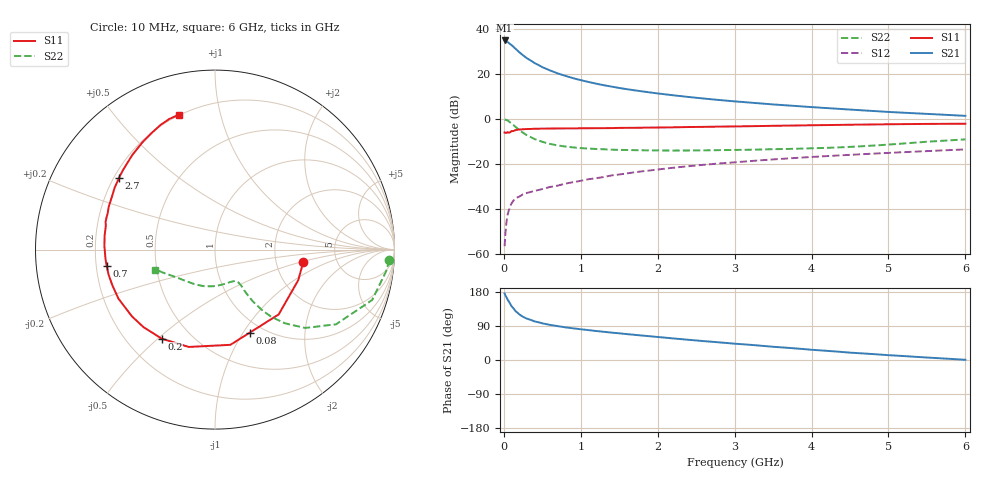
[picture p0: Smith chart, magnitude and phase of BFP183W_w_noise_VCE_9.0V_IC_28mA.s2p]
! (c) 2017  Infineon Technologies AG, Munich
! Infineon Technologies  Discrete & RF Semiconductors
! BFP183W
! VCE =  9.0 V,  IC =  28 mA
! Common Emitter S-Parameters:  Jan 2017
# GHz  S  MA  R  50
!  f  S11  S21  S12  S22
! GHz  MAG  ANG  MAG  ANG  MAG  ANG  MAG  ANG
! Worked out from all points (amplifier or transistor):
!   77 points, 10 MHz to 6 GHz, reference 50 ohm
!   highest |S21| = 34.7 dB at 10 MHz (marker M1)
!   |S21| within 3 dB of that: start of sweep to 130.4 MHz
!   unconditionally stable (mu >= 1): 1.091 GHz to 3.448 GHz
!   at 130 MHz: K = 0.27, MSG = 33.9 dB, |S12| = -36.1 dB
!   at 2.2 GHz: K = 1.06, MAG = 14.6 dB, |S12| = -21.7 dB
!   at 6 GHz: K = 0.86, MSG = 7.4 dB, |S12| = -13.6 dB
!   lowest NFmin = 1.35 dB at 450 MHz
!   S11 on the Smith chart (normalised r, x): 10 MHz: 2.86, -0.54; 80 MHz: 0.87, -1.07; 200 MHz: 0.35, -0.51; 700 MHz: 0.24, -0.07; 2.7 GHz: 0.22, +0.32; 6 GHz: 0.20, +0.75
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0.01  0.4965 -8.3  54.61 175.5  0.0015 74.4  0.9734 -3.4
0.02  0.494 -20.2  53.85 170.7  0.0028 89.5  0.9612 -7.2
0.05  0.5063 -45.5  50.54 158.9  0.0077 71.2  0.9193 -17.8
0.08  0.5016 -67.3  45.7 149.3  0.011 64.6  0.837 -25.6
0.1  0.5374 -80.8  43.3 141.9  0.0133 62.0  0.7923 -31.7
0.12  0.5353 -90.7  40.18 137.5  0.0149 59.0  0.7393 -35.0
0.15  0.5618 -105.1  36.04 129.6  0.0173 55.5  0.6653 -41.0
0.2  0.5782 -120.9  30.08 120.6  0.0188 51.7  0.566 -46.5
0.25  0.5877 -132.7  25.56 113.9  0.0212 48.5  0.4896 -50.0
0.3  0.5937 -141.2  22.03 109.1  0.0227 47.0  0.4321 -52.0
0.4  0.6033 -153.0  17.22 101.8  0.0252 49.8  0.3549 -53.9
0.5  0.6055 -160.8  14 96.8  0.0277 49.3  0.309 -54.3
0.7  0.6104 -171.4  10.18 89.4  0.033 53.9  0.2563 -54.0
0.9  0.6137 -179.1  7.958 83.6  0.0393 56.6  0.2323 -54.4
1.1  0.6176 175.2  6.558 78.9  0.0458 58.5  0.2191 -55.1
1.5  0.6289 165.7  4.829 70.4  0.0583 60.6  0.2049 -59.1
2.1  0.6443 153.5  3.486 58.9  0.0786 60.5  0.1982 -70.0
2.7  0.6668 143.4  2.711 48.2  0.0989 58.7  0.2008 -84.9
3.1  0.6819 137.2  2.362 41.6  0.1119 56.7  0.2051 -95.3
4.1  0.7234 123.3  1.773 25.6  0.1458 51.2  0.2244 -121.5
5.1  0.7599 112.8  1.392 11.6  0.1788 45.2  0.2757 -147.4
6  0.7786 104.9  1.164 0.5  0.2099 39.2  0.3498 -161.4
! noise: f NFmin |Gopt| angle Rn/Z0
0.45  1.35  0.26  179  0.09
0.9  1.38  0.29  -179  0.1
1.9  1.87  0.44  -157  0.1
2.4  2.12  0.49  -152  0.14
